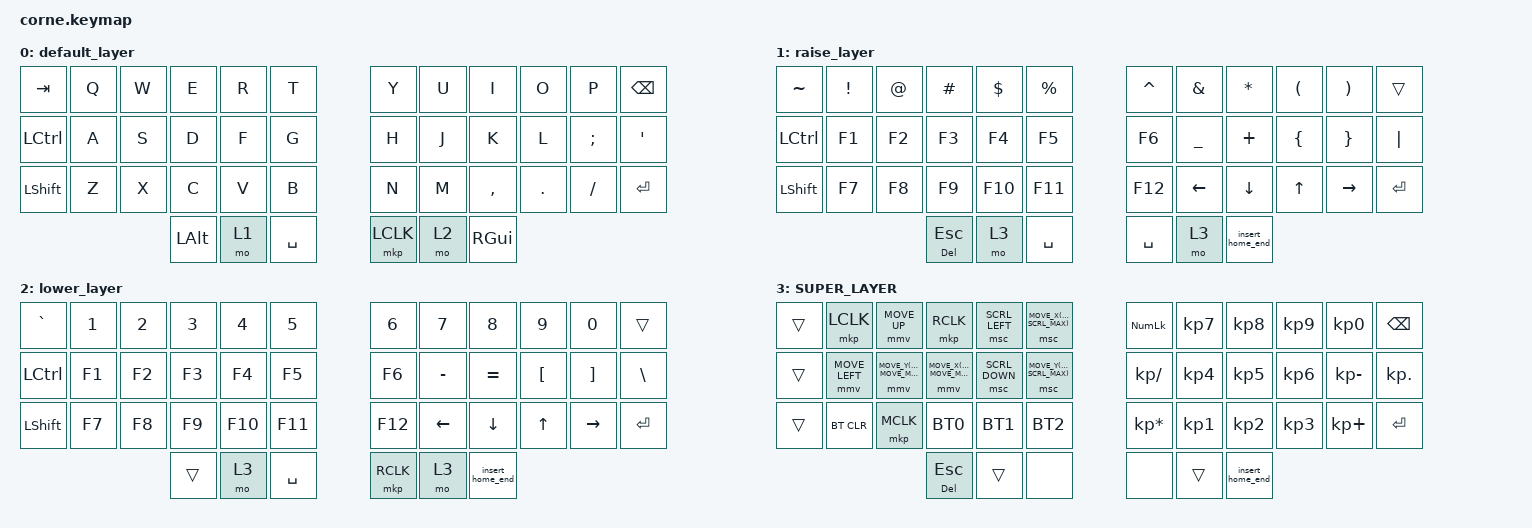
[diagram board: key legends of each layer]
/*
 * Copyright (c) 2020 The ZMK Contributors
 *
 * SPDX-License-Identifier: MIT
 */

#include <dt-bindings/zmk/mouse.h>
#include <behaviors.dtsi>
#include <dt-bindings/zmk/bt.h>
#include <dt-bindings/zmk/keys.h>

#define U_MOUSE_SCRL_MAX 30                  /* <--- New max speed setting (default: 10) */

#undef SCRL_UP
#undef SCRL_DOWN
#undef SCRL_LEFT
#undef SCRL_RIGHT

#define SCRL_UP MOVE_Y(U_MOUSE_SCRL_MAX)
#define SCRL_DOWN MOVE_Y(-U_MOUSE_SCRL_MAX)
#define SCRL_LEFT MOVE_X(-U_MOUSE_SCRL_MAX)
#define SCRL_RIGHT MOVE_X(U_MOUSE_SCRL_MAX)
#define U_MOUSE_MOVE_MAX 1600                  /* <--- New max speed setting (default: 600) */

#undef MOVE_UP
#undef MOVE_DOWN
#undef MOVE_LEFT
#undef MOVE_RIGHT

#define MOVE_UP MOVE_Y(-U_MOUSE_MOVE_MAX)
#define MOVE_DOWN MOVE_Y(U_MOUSE_MOVE_MAX)
#define MOVE_LEFT MOVE_X(-U_MOUSE_MOVE_MAX)
#define MOVE_RIGHT MOVE_X(U_MOUSE_MOVE_MAX)

/ {
    behaviors {
        insert_home_end: insert_home_end {
            compatible = "zmk,behavior-tap-dance";
            label = "INSERT_HOME_END";
            #binding-cells = <0>;
            bindings = <&kp HOME>, <&kp END>, <&kp LS(INSERT)>;

            tapping-term-ms = <300>;
        };

        BT0: BT0 {
            compatible = "zmk,behavior-tap-dance";
            label = "BT0";
            #binding-cells = <0>;
            bindings = <&bt BT_SEL 0>, <&none>, <&bt BT_DISC 0>;

            tapping-term-ms = <400>;
        };

        BT1: BT1 {
            compatible = "zmk,behavior-tap-dance";
            label = "BT1";
            #binding-cells = <0>;
            bindings = <&bt BT_SEL 1>, <&none>, <&bt BT_DISC 1>;

            tapping-term-ms = <400>;
        };

        BT2: BT2 {
            compatible = "zmk,behavior-tap-dance";
            label = "BT2";
            #binding-cells = <0>;
            bindings = <&bt BT_SEL 2>, <&none>, <&bt BT_DISC 2>;

            tapping-term-ms = <400>;
        };

        mouse_move { time-to-max-speed-ms = <300>; };

        mouse_scroll { time-to-max-speed-ms = <400>; };
    };

    combos {
        compatible = "zmk,combos";

        middle_click {
            bindings = <&mkp MCLK>;
            key-positions = <40 39>;
            layers = <0>;
        };
    };

    keymap {
        compatible = "zmk,keymap";

        default_layer {
            // -----------------------------------------------------------------------------------------
            // |  TAB |  Q  |  W  |  E  |  R  |  T  |   |  Y  |  U   |  I  |  O  |  P  | BKSP |
            // | CTRL |  A  |  S  |  D  |  F  |  G  |   |  H  |  J   |  K  |  L  |  ;  |  '   |
            // | SHFT |  Z  |  X  |  C  |  V  |  B  |   |  N  |  M   |  ,  |  .  |  /  | ESC  |
            //                    | GUI | LWR | SPC |   | ENT | RSE  | ALT |

            bindings = <
&kp TAB           &kp Q  &kp W  &kp E         &kp R  &kp T        &kp Y      &kp U  &kp I          &kp O    &kp P     &kp BSPC
&kp LEFT_CONTROL  &kp A  &kp S  &kp D         &kp F  &kp G        &kp H      &kp J  &kp K          &kp L    &kp SEMI  &kp SQT
&kp LEFT_SHIFT    &kp Z  &kp X  &kp C         &kp V  &kp B        &kp N      &kp M  &kp COMMA      &kp DOT  &kp FSLH  &kp ENTER
                                &kp LEFT_ALT  &mo 1  &kp SPACE    &mkp LCLK  &mo 2  &kp RIGHT_GUI
            >;
        };

        raise_layer {
            // -----------------------------------------------------------------------------------------
            // |  TAB |  !  |  @  |  #  |  $  |  %  |   |  ^  |  &  |  *  |  (  |  )  | BKSP |
            // | CTRL |     |     |     |     |     |   |  -  |  =  |  [  |  ]  |  \  |  `   |
            // | SHFT |     |     |     |     |     |   |  _  |  +  |  {  |  }  | "|" |  ~   |
            //                    | GUI |     | SPC |   | ENT |     | ALT |

            bindings = <
&kp TILDE  &kp EXCL  &kp AT  &kp HASH           &kp DLLR  &kp PRCNT    &kp CARET  &kp AMPS        &kp ASTRK         &kp LPAR        &kp RPAR         &trans
&kp LCTRL  &kp F1    &kp F2  &kp F3             &kp F4    &kp F5       &kp F6     &kp UNDERSCORE  &kp PLUS          &kp LEFT_BRACE  &kp RIGHT_BRACE  &kp PIPE
&kp LSHFT  &kp F7    &kp F8  &kp F9             &kp F10   &kp F11      &kp F12    &kp LEFT        &kp DOWN          &kp UP_ARROW    &kp RIGHT        &kp ENTER
                             &mt DELETE ESCAPE  &mo 3     &kp SPACE    &kp SPACE  &mo 3           &insert_home_end
            >;
        };

        lower_layer {
            // -----------------------------------------------------------------------------------------
            // |  TAB |  1  |  2  |  3  |  4  |  5  |   |  6  |  7  |  8  |  9  |  0  | BKSP |
            // | BTCLR| BT1 | BT2 | BT3 | BT4 | BT5 |   | LFT | DWN |  UP | RGT |     |      |
            // | SHFT |     |     |     |     |     |   |     |     |     |     |     |      |
            //                    | GUI |     | SPC |   | ENT |     | ALT |

            bindings = <
&kp GRAVE         &kp N1  &kp N2  &kp N3  &kp N4   &kp N5       &kp N6     &kp N7          &kp N8            &kp N9            &kp N0             &trans
&kp LEFT_CONTROL  &kp F1  &kp F2  &kp F3  &kp F4   &kp F5       &kp F6     &kp MINUS       &kp EQUAL         &kp LEFT_BRACKET  &kp RIGHT_BRACKET  &kp BACKSLASH
&kp LSHFT         &kp F7  &kp F8  &kp F9  &kp F10  &kp F11      &kp F12    &kp LEFT_ARROW  &kp DOWN_ARROW    &kp UP_ARROW      &kp RIGHT_ARROW    &kp ENTER
                                  &trans  &mo 3    &kp SPACE    &mkp RCLK  &mo 3           &insert_home_end
            >;
        };

        SUPER_LAYER {
            bindings = <
&trans  &mkp LCLK       &mmv MOVE_UP    &mkp RCLK        &msc SCRL_LEFT  &msc SCRL_RIGHT    &kp KP_NUMLOCK   &kp KP_N7  &kp KP_N8         &kp KP_N9  &kp KP_NUMBER_0  &kp BACKSPACE
&trans  &mmv MOVE_LEFT  &mmv MOVE_DOWN  &mmv MOVE_RIGHT  &msc SCRL_DOWN  &msc SCRL_UP       &kp KP_DIVIDE    &kp KP_N4  &kp KP_N5         &kp KP_N6  &kp KP_MINUS     &kp KP_DOT
&trans  &bt BT_CLR      &mkp MCLK       &BT0             &BT1            &BT2               &kp KP_MULTIPLY  &kp KP_N1  &kp KP_N2         &kp KP_N3  &kp KP_PLUS      &kp ENTER
                                        &mt DEL ESC      &trans          &none              &none            &trans     &insert_home_end
            >;
        };
    };
};
